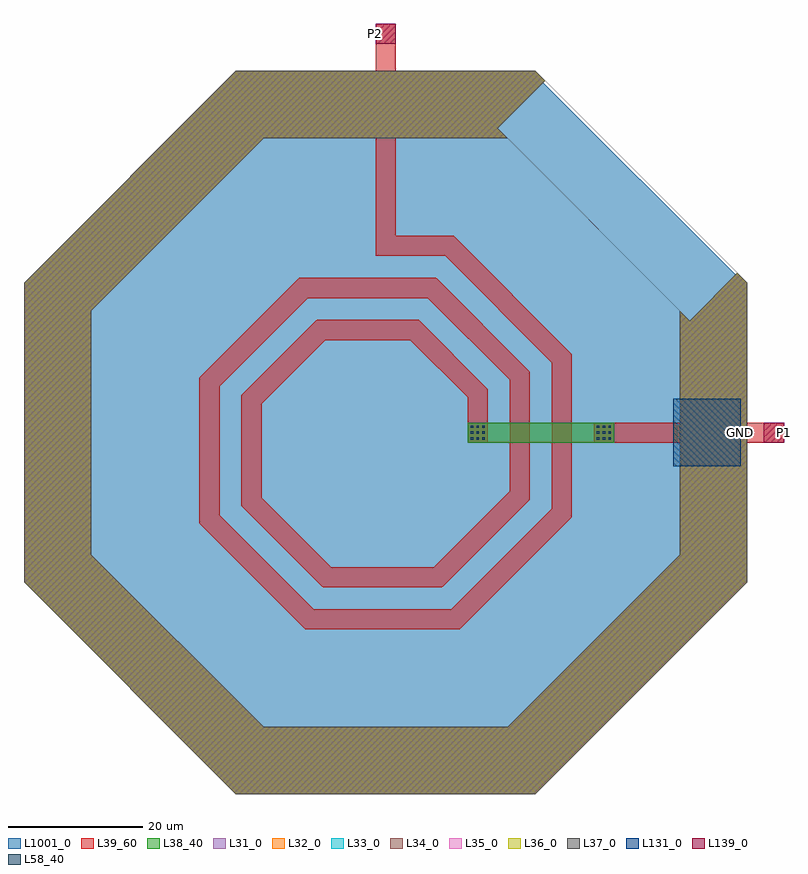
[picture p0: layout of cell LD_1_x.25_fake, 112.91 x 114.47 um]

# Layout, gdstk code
import gdstk
lib = gdstk.Library(unit=1e-6, precision=1e-09)
def R(c, l, rs):  # rectangles x0, y0, x1, y1
    for r in rs: c.add(gdstk.rectangle(r[:2], r[2:], *l))
def A(c, l, x, y, w, h, nx, ny, dx, dy):  # array of equal rectangles
    R(c, l, [(x+i*dx, y+j*dy, x+i*dx+w, y+j*dy+h) for i in range(nx) for j in range(ny)])
def P(c, l, *ps):  # polygons
    for p in ps: c.add(gdstk.Polygon(p, *l))
L31_0 = (31, 0)
L32_0 = (32, 0)
L33_0 = (33, 0)
L34_0 = (34, 0)
L35_0 = (35, 0)
L36_0 = (36, 0)
L37_0 = (37, 0)
L38_40 = (38, 40)
L39_60 = (39, 60)
L58_40 = (58, 40)
L131_0 = (131, 0)
L139_0 = (139, 0)
L1001_0 = (1001, 0)

ld_1_x_25_fake = lib.new_cell('LD_1_x.25_fake')
P(ld_1_x_25_fake, L31_0, [(45.194,16.649),(52.265,23.72),(22.255,53.729),(-22.255,53.729),(-53.729,22.255),(-53.729,-22.255),(-22.255,-53.729),(22.255,-53.729),(53.729,-22.255),(53.729,22.255),(23.72,52.265),(16.649,45.194),(43.729,18.113),(43.729,-18.113),(18.113,-43.729),(-18.113,-43.729),(-43.729,-18.113),(-43.729,18.113),(-18.113,43.729),(18.113,43.729)])
P(ld_1_x_25_fake, L32_0, [(45.194,16.649),(52.265,23.72),(22.255,53.729),(-22.255,53.729),(-53.729,22.255),(-53.729,-22.255),(-22.255,-53.729),(22.255,-53.729),(53.729,-22.255),(53.729,22.255),(23.72,52.265),(16.649,45.194),(43.729,18.113),(43.729,-18.113),(18.113,-43.729),(-18.113,-43.729),(-43.729,-18.113),(-43.729,18.113),(-18.113,43.729),(18.113,43.729)])
P(ld_1_x_25_fake, L33_0, [(45.194,16.649),(52.265,23.72),(22.255,53.729),(-22.255,53.729),(-53.729,22.255),(-53.729,-22.255),(-22.255,-53.729),(22.255,-53.729),(53.729,-22.255),(53.729,22.255),(23.72,52.265),(16.649,45.194),(43.729,18.113),(43.729,-18.113),(18.113,-43.729),(-18.113,-43.729),(-43.729,-18.113),(-43.729,18.113),(-18.113,43.729),(18.113,43.729)])
P(ld_1_x_25_fake, L34_0, [(45.194,16.649),(52.265,23.72),(22.255,53.729),(-22.255,53.729),(-53.729,22.255),(-53.729,-22.255),(-22.255,-53.729),(22.255,-53.729),(53.729,-22.255),(53.729,22.255),(23.72,52.265),(16.649,45.194),(43.729,18.113),(43.729,-18.113),(18.113,-43.729),(-18.113,-43.729),(-43.729,-18.113),(-43.729,18.113),(-18.113,43.729),(18.113,43.729)])
P(ld_1_x_25_fake, L35_0, [(45.194,16.649),(52.265,23.72),(22.255,53.729),(-22.255,53.729),(-53.729,22.255),(-53.729,-22.255),(-22.255,-53.729),(22.255,-53.729),(53.729,-22.255),(53.729,22.255),(23.72,52.265),(16.649,45.194),(43.729,18.113),(43.729,-18.113),(18.113,-43.729),(-18.113,-43.729),(-43.729,-18.113),(-43.729,18.113),(-18.113,43.729),(18.113,43.729)])
P(ld_1_x_25_fake, L36_0, [(45.194,16.649),(52.265,23.72),(22.255,53.729),(-22.255,53.729),(-53.729,22.255),(-53.729,-22.255),(-22.255,-53.729),(22.255,-53.729),(53.729,-22.255),(53.729,22.255),(23.72,52.265),(16.649,45.194),(43.729,18.113),(43.729,-18.113),(18.113,-43.729),(-18.113,-43.729),(-43.729,-18.113),(-43.729,18.113),(-18.113,43.729),(18.113,43.729)])
P(ld_1_x_25_fake, L37_0, [(45.194,16.649),(52.265,23.72),(22.255,53.729),(-22.255,53.729),(-53.729,22.255),(-53.729,-22.255),(-22.255,-53.729),(22.255,-53.729),(53.729,-22.255),(53.729,22.255),(23.72,52.265),(16.649,45.194),(43.729,18.113),(43.729,-18.113),(18.113,-43.729),(-18.113,-43.729),(-43.729,-18.113),(-43.729,18.113),(-18.113,43.729),(18.113,43.729)])
R(ld_1_x_25_fake, L38_40, [(12.18,-1.5,33.93,1.5)])
P(ld_1_x_25_fake, L38_40, [(45.194,16.649),(52.265,23.72),(22.255,53.729),(-22.255,53.729),(-53.729,22.255),(-53.729,-22.255),(-22.255,-53.729),(22.255,-53.729),(53.729,-22.255),(53.729,22.255),(23.72,52.265),(16.649,45.194),(43.729,18.113),(43.729,-18.113),(18.113,-43.729),(-18.113,-43.729),(-43.729,-18.113),(-43.729,18.113),(-18.113,43.729),(18.113,43.729)])
R(ld_1_x_25_fake, L39_60, [(30.93,-1.5,59.18,1.5), (-1.5,26.245,1.5,60.745)])
P(ld_1_x_25_fake, L39_60, [(12.18,-1.5),(15.18,-1.5),(15.18,6.476),(4.917,16.745),(-10.252,16.745),(-21.43,5.561),(-21.43,-10.896),(-9.337,-22.995),(8.422,-22.995),(21.43,-9.981),(21.43,9.066),(7.506,22.995),(-12.841,22.995),(-27.68,8.151),(-27.68,-13.486),(-11.921,-29.245),(11.006,-29.245),(27.68,-12.571),(27.68,11.656),(10.091,29.245),(0,29.245),(0,26.245),(8.849,26.245),(24.68,10.414),(24.68,-11.329),(9.764,-26.245),(-10.679,-26.245),(-24.68,-12.244),(-24.68,6.909),(-11.599,19.995),(6.264,19.995),(18.43,7.824),(18.43,-8.739),(7.178,-19.995),(-8.093,-19.995),(-18.43,-9.654),(-18.43,4.319),(-9.008,13.745),(3.673,13.745),(12.18,5.234)],
  [(45.194,16.649),(52.265,23.72),(22.255,53.729),(-22.255,53.729),(-53.729,22.255),(-53.729,-22.255),(-22.255,-53.729),(22.255,-53.729),(53.729,-22.255),(53.729,22.255),(23.72,52.265),(16.649,45.194),(43.729,18.113),(43.729,-18.113),(18.113,-43.729),(-18.113,-43.729),(-43.729,-18.113),(-43.729,18.113),(-18.113,43.729),(18.113,43.729)])
A(ld_1_x_25_fake, L58_40, 12.637, -1.045, 0.35, 0.35, 3, 3, 0.87, 0.87)
A(ld_1_x_25_fake, L58_40, 31.387, -1.045, 0.35, 0.35, 3, 3, 0.87, 0.87)
R(ld_1_x_25_fake, L131_0, [(42.745,-5,52.745,5)])
R(ld_1_x_25_fake, L139_0, [(56.18,-1.5,59.18,1.5), (-1.5,57.745,1.5,60.745)])
P(ld_1_x_25_fake, L1001_0, [(53.349,22.098),(22.098,53.349),(-22.098,53.349),(-53.349,22.098),(-53.349,-22.098),(-22.098,-53.349),(22.098,-53.349),(53.349,-22.098)],
  [(53.349,22.098),(22.098,53.349),(-22.098,53.349),(-53.349,22.098),(-53.349,-22.098),(-22.098,-53.349),(22.098,-53.349),(53.349,-22.098)],
  [(53.349,22.098),(22.098,53.349),(-22.098,53.349),(-53.349,22.098),(-53.349,-22.098),(-22.098,-53.349),(22.098,-53.349),(53.349,-22.098)],
  [(53.349,22.098),(22.098,53.349),(-22.098,53.349),(-53.349,22.098),(-53.349,-22.098),(-22.098,-53.349),(22.098,-53.349),(53.349,-22.098)],
  [(53.349,22.098),(22.098,53.349),(-22.098,53.349),(-53.349,22.098),(-53.349,-22.098),(-22.098,-53.349),(22.098,-53.349),(53.349,-22.098)],
  [(53.349,22.098),(22.098,53.349),(-22.098,53.349),(-53.349,22.098),(-53.349,-22.098),(-22.098,-53.349),(22.098,-53.349),(53.349,-22.098)],
  [(53.349,22.098),(22.098,53.349),(-22.098,53.349),(-53.349,22.098),(-53.349,-22.098),(-22.098,-53.349),(22.098,-53.349),(53.349,-22.098)],
  [(53.349,22.098),(22.098,53.349),(-22.098,53.349),(-53.349,22.098),(-53.349,-22.098),(-22.098,-53.349),(22.098,-53.349),(53.349,-22.098)],
  [(53.349,22.098),(22.098,53.349),(-22.098,53.349),(-53.349,22.098),(-53.349,-22.098),(-22.098,-53.349),(22.098,-53.349),(53.349,-22.098)])
ld_1_x_25_fake.add(gdstk.Label('P1', (59.182,0), layer=139, texttype=0))
ld_1_x_25_fake.add(gdstk.Label('P2', (-1.5,59.244), layer=139, texttype=0))
ld_1_x_25_fake.add(gdstk.Label('GND', (52.744,0), layer=131, texttype=0))

lib.write_gds('LD_1_x.25_fake.gds')
